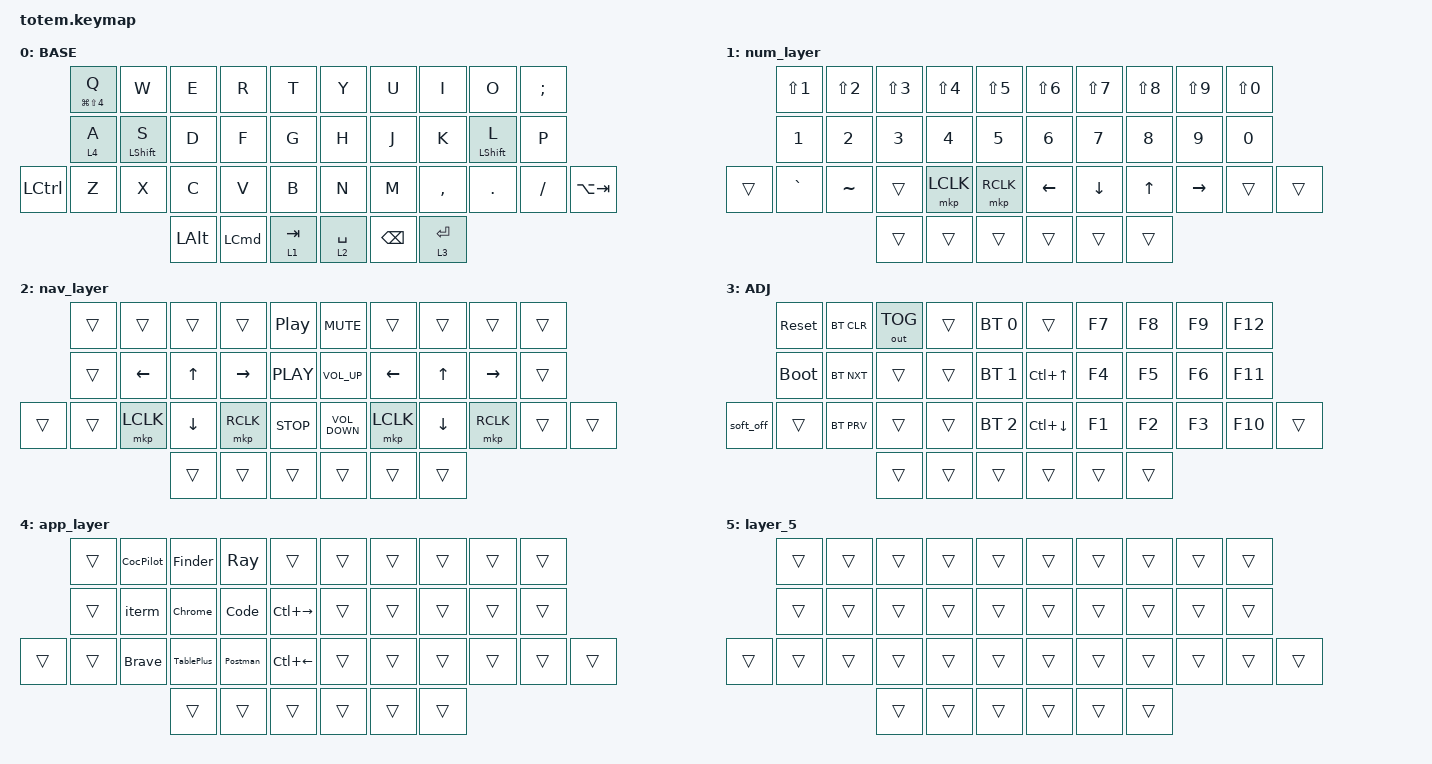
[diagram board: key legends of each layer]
//
//                                                        ▀▀▀▀▀     ▀▀▀▀▀          ▀▀█▀▀
//                                                        ▄▀▀▀▄  ▄  ▄▀▀▀▄  ▄  ▄▀▀▀▄  █  ▄▀▀▀▄
//                                                        █   █  █  █   █  █  █   █  █  █   █
//                                                         ▀▀▀   █   ▀▀▀   █   ▀▀▀   ▀   ▀▀▀
//                                                               █      ▄▄▄█▄▄▄    █   █  
//                                                               ▀      █  █  █     █▄█
//                                                             ▀▀▀▀▀    █  █  █      ▀
//                                                                      ▀  ▀  ▀
//
// ▄▄▄▄▄▄▄▄▄▄▄▄▄▄▄▄▄▄▄▄▄▄▄▄▄▄▄▄▄▄▄▄▄▄▄▄▄▄▄▄▄▄▄▄▄▄▄▄▄▄▄▄▄▄▄▄▄▄▄▄▄▄▄▄▄▄▄▄▄▄▄▄▄▄▄▄▄▄▄▄▄▄▄▄▄▄▄▄▄▄▄▄▄▄▄▄▄▄▄▄▄▄▄▄▄▄▄▄▄▄▄▄▄▄▄▄▄▄▄▄▄▄▄▄▄▄▄▄▄▄▄▄▄▄▄▄▄▄▄▄▄▄▄▄▄▄▄▄▄

#include <behaviors.dtsi>
#include <dt-bindings/zmk/bt.h>
#include <dt-bindings/zmk/keys.h>
#include <dt-bindings/zmk/outputs.h>
#include <dt-bindings/zmk/pointing.h>

#define BASE 0
#define NAV  1
#define SYM  2
#define ADJ  3
#define TVP1 4
#define TVP2 5

&mt {
    quick-tap-ms = <150>;
    global-quick-tap;
    flavor = "tap-preferred";
    tapping-term-ms = <250>;
};

/ {
    combos {
        compatible = "zmk,combos";

        combo_esc {
            timeout-ms = <50>;
            key-positions = <0 1>;
            bindings = <&kp ESC>;
        };

        lessthan {
            bindings = <&kp LESS_THAN>;
            key-positions = <2 3>;
        };

        minus {
            bindings = <&kp MINUS>;
            key-positions = <12 13>;
        };

        doublequotes {
            bindings = <&kp DOUBLE_QUOTES>;
            key-positions = <23 24>;
        };

        singlequotes {
            bindings = <&kp SQT>;
            key-positions = <22 23>;
        };

        left_parenthesis {
            bindings = <&kp LEFT_PARENTHESIS>;
            key-positions = <3 4>;
        };

        left_brace {
            bindings = <&kp LEFT_BRACE>;
            key-positions = <13 14>;
        };

        left_bracket {
            bindings = <&kp LEFT_BRACKET>;
            key-positions = <24 25>;
        };

        right_parenthesis {
            bindings = <&kp RIGHT_PARENTHESIS>;
            key-positions = <5 6>;
        };

        right_brace {
            bindings = <&kp RIGHT_BRACE>;
            key-positions = <15 16>;
        };

        right_bracket {
            bindings = <&kp RIGHT_BRACKET>;
            key-positions = <26 27>;
        };

        greater_than {
            bindings = <&kp GREATER_THAN>;
            key-positions = <6 7>;
        };

        underscore {
            bindings = <&kp UNDERSCORE>;
            key-positions = <16 17>;
        };

        equal {
            bindings = <&kp EQUAL>;
            key-positions = <27 28>;
        };

        colon {
            bindings = <&kp LS(SEMICOLON)>;
            key-positions = <7 8>;
        };

        semicolon {
            bindings = <&kp SEMICOLON>;
            key-positions = <28 29>;
        };

        pipe {
            bindings = <&kp LS(BACKSLASH)>;
            key-positions = <8 9>;
        };

        backslash {
            bindings = <&kp BACKSLASH>;
            key-positions = <29 30>;
        };

        reset_power-on {
            bindings = <&sys_reset>;
            key-positions = <20 32>;
        };
    };

    macros {
        gif: gif {
            label = "giphy";
            compatible = "zmk,behavior-macro";
            #binding-cells = <0>;
            bindings =
                <&macro_press>,
                <&kp LSHFT>,
                <&macro_tap>,
                <&kp N2>,
                <&macro_release>,
                <&kp LSHFT>,
                <&macro_tap>,
                <&kp G &kp I &kp F>;
        };

        Code: Code {
            compatible = "zmk,behavior-macro";
            #binding-cells = <0>;
            bindings = <&kp LA(LS(X))>;
            label = "CODE";
        };

        iterm: iterm {
            compatible = "zmk,behavior-macro";
            #binding-cells = <0>;
            bindings = <&kp LA(LS(S))>;
            label = "ITERM";
        };

        Chrome: Chrome {
            compatible = "zmk,behavior-macro";
            #binding-cells = <0>;
            bindings = <&kp LA(LS(W))>;
            label = "CHROME";
        };

        Ray: Ray {
            compatible = "zmk,behavior-macro";
            #binding-cells = <0>;
            bindings = <&kp LA(LS(R))>;
            label = "RAY";
        };

        CocPilot: CocPilot {
            compatible = "zmk,behavior-macro";
            #binding-cells = <0>;
            bindings = <&kp LA(LS(A))>;
            label = "COCPILOT";
        };

        Obsidian: Obsidian {
            compatible = "zmk,behavior-macro";
            #binding-cells = <0>;
            bindings = <&kp LA(LS(O))>;
            label = "OBSIDIAN";
        };

        Postman: Postman {
            compatible = "zmk,behavior-macro";
            #binding-cells = <0>;
            bindings = <&kp LA(LS(P))>;
            label = "POSTMAN";
        };

        TablePlus: TablePlus {
            compatible = "zmk,behavior-macro";
            #binding-cells = <0>;
            bindings = <&kp LA(LS(T))>;
            label = "TABLEPLUS";
        };

        Finder: Finder {
            compatible = "zmk,behavior-macro";
            #binding-cells = <0>;
            bindings = <&kp LA(LS(F))>;
            label = "FINDER";
        };

        Brave: Brave {
            compatible = "zmk,behavior-macro";
            #binding-cells = <0>;
            bindings = <&kp LA(LS(B))>;
            label = "BRAVE";
        };
    };

    keymap {
        compatible = "zmk,keymap";

        // ▄▄▄▄▄▄▄▄▄▄▄▄▄▄▄▄▄▄▄▄▄▄▄▄▄▄▄▄▄▄▄▄▄▄▄▄▄▄▄▄▄▄▄▄▄▄▄▄▄▄▄▄▄▄▄▄▄▄▄▄▄▄▄▄▄▄▄▄▄▄▄▄▄▄▄▄▄▄▄▄▄▄▄▄▄▄▄▄▄▄▄▄▄▄▄▄▄▄▄▄▄▄▄▄▄▄▄▄▄▄▄▄▄▄▄▄▄▄▄▄▄▄▄▄▄▄▄▄▄▄▄▄▄▄▄▄▄▄▄▄▄▄▄▄▄▄▄▄▄

        base_layer {
            // ┏━━━━━━━━━━━━━━━━━━━━━━━━━━━━━━━━━━━━━━━┓

            label = "BASE";

            // ┗━━━━━━━━━━━━━━━━━━━━━━━━━━━━━━━━━━━━━━━┛
            //             ┏━━━━━━━━━━━┳━━━━━━━━━━━┳━━━━━━━━━━━┳━━━━━━━━━━━┳━━━━━━━━━━━┓   ┏━━━━━━━━━━━┳━━━━━━━━━━━┳━━━━━━━━━━━┳━━━━━━━━━━━┳━━━━━━━━━━━┓
            //             ┃     Q     ┃     W     ┃     F     ┃     P     ┃     G     ┃   ┃     J     ┃     L     ┃     U     ┃     Y     ┃     ;     ┃
            //             ┣━━━━━━━━━━━╋━━━━━━━━━━━╋━━━━━━━━━━━╋━━━━━━━━━━━╋━━━━━━━━━━━┫   ┣━━━━━━━━━━━╋━━━━━━━━━━━╋━━━━━━━━━━━╋━━━━━━━━━━━╋━━━━━━━━━━━┫
            //             ┃     A     ┃     R     ┃     S     ┃     T     ┃     D     ┃   ┃     H     ┃     N     ┃     E     ┃     I     ┃     O     ┃
            // ┏━━━━━━━━━━━╋━━━━━━━━━━━╋━━━━━━━━━━━╋━━━━━━━━━━━╋━━━━━━━━━━━╋━━━━━━━━━━━┫   ┣━━━━━━━━━━━╋━━━━━━━━━━━╋━━━━━━━━━━━╋━━━━━━━━━━━╋━━━━━━━━━━━╋━━━━━━━━━━━┓
            // ┃     Q     ┃     Z     ┃     X     ┃     C     ┃     V     ┃     B     ┃   ┃     K     ┃     M     ┃     ,     ┃     .     ┃     /     ┃     \     ┃
            // ┗━━━━━━━━━━━┻━━━━━━━━━━━┻━━━━━━━━━━━╋━━━━━━━━━━━╋━━━━━━━━━━━╋━━━━━━━━━━━┫   ┣━━━━━━━━━━━╋━━━━━━━━━━━╋━━━━━━━━━━━╋━━━━━━━━━━━┻━━━━━━━━━━━┻━━━━━━━━━━━┛
            //                                     ┃    DEL    ┃    TAB    ┃    SPC    ┃   ┃   ENTER   ┃           ┃   BSPC    ┃
            //                                     ┗━━━━━━━━━━━┻━━━━━━━━━━━┻━━━━━━━━━━━┛   ┗━━━━━━━━━━━┻━━━━━━━━━━━┻━━━━━━━━━━━┛

            bindings = <
                  &mt LG(LS(NUMBER_4)) Q  &kp W             &kp E         &kp R             &kp T        &kp Y        &kp U          &kp I        &kp O             &kp SEMICOLON
                  &lt 4 A                 &mt LEFT_SHIFT S  &kp D         &kp F             &kp G        &kp H        &kp J          &kp K        &mt LEFT_SHIFT L  &kp P
&kp LEFT_CONTROL  &kp Z                   &kp X             &kp C         &kp V             &kp B        &kp N        &kp M          &kp COMMA    &kp DOT           &kp FSLH       &kp LA(TAB)
                                                            &kp LEFT_ALT  &kp LEFT_COMMAND  &lt 1 TAB    &lt 2 SPACE  &kp BACKSPACE  &lt 3 ENTER
            >;
        };

        num_layer {
            bindings = <
        &kp LS(NUMBER_1)  &kp LS(NUMBER_2)  &kp LS(NUMBER_3)  &kp LS(NUMBER_4)  &kp LS(NUMBER_5)    &kp LS(NUMBER_6)  &kp LS(NUMBER_7)  &kp LS(NUMBER_8)  &kp LS(NUMBER_9)  &kp LS(NUMBER_0)
        &kp NUMBER_1      &kp NUMBER_2      &kp NUMBER_3      &kp NUMBER_4      &kp NUMBER_5        &kp NUMBER_6      &kp NUMBER_7      &kp NUMBER_8      &kp NUMBER_9      &kp NUMBER_0
&trans  &kp GRAVE         &kp TILDE         &trans            &mkp LCLK         &mkp RCLK           &kp LEFT_ARROW    &kp DOWN_ARROW    &kp UP_ARROW      &kp RIGHT_ARROW   &trans            &trans
                                            &trans            &trans            &trans              &trans            &trans            &trans
            >;
        };

        nav_layer {
            bindings = <
        &trans  &trans          &trans          &trans           &kp C_PLAY_PAUSE    &kp K_MUTE         &trans     &trans        &trans     &trans
        &trans  &kp LEFT_ARROW  &kp UP_ARROW    &kp RIGHT_ARROW  &kp C_PLAY          &kp C_VOLUME_UP    &kp LEFT   &kp UP_ARROW  &kp RIGHT  &trans
&trans  &trans  &mkp LCLK       &kp DOWN_ARROW  &mkp RCLK        &kp C_STOP          &kp C_VOLUME_DOWN  &mkp LCLK  &kp DOWN      &mkp RCLK  &trans  &trans
                                &trans          &trans           &trans              &trans             &trans     &trans
            >;
        };

        adjust_layer {
            // ┏━━━━━━━━━━━━━━━━━━━━━━━━━━━━━━━━━━━━━━━┓

            label = "ADJ";

            // ┗━━━━━━━━━━━━━━━━━━━━━━━━━━━━━━━━━━━━━━━┛
            //             ┏━━━━━━━━━━━┳━━━━━━━━━━━┳━━━━━━━━━━━┳━━━━━━━━━━━┳━━━━━━━━━━━┓   ┏━━━━━━━━━━━┳━━━━━━━━━━━┳━━━━━━━━━━━┳━━━━━━━━━━━┳━━━━━━━━━━━┓
            //             ┃   RESET   ┃ BT CLEAR  ┃  OUT TOG  ┃           ┃           ┃   ┃           ┃    F7     ┃    F8     ┃    F9     ┃    F12    ┃
            //             ┣━━━━━━━━━━━╋━━━━━━━━━━━╋━━━━━━━━━━━╋━━━━━━━━━━━╋━━━━━━━━━━━┫   ┣━━━━━━━━━━━╋━━━━━━━━━━━╋━━━━━━━━━━━╋━━━━━━━━━━━╋━━━━━━━━━━━┫
            //             ┃ BOOTLOAD  ┃ BT NEXT   ┃           ┃           ┃           ┃   ┃           ┃    F4     ┃    F5     ┃    F6     ┃    F11    ┃
            // ┏━━━━━━━━━━━╋━━━━━━━━━━━╋━━━━━━━━━━━╋━━━━━━━━━━━╋━━━━━━━━━━━╋━━━━━━━━━━━┫   ┣━━━━━━━━━━━╋━━━━━━━━━━━╋━━━━━━━━━━━╋━━━━━━━━━━━╋━━━━━━━━━━━╋━━━━━━━━━━━┓
            // ┃           ┃           ┃ BT PREV   ┃           ┃           ┃           ┃   ┃           ┃    F1     ┃    F2     ┃    F3     ┃    F10    ┃           ┃
            // ┗━━━━━━━━━━━┻━━━━━━━━━━━┻━━━━━━━━━━━╋━━━━━━━━━━━╋━━━━━━━━━━━╋━━━━━━━━━━━┫   ┣━━━━━━━━━━━╋━━━━━━━━━━━╋━━━━━━━━━━━╋━━━━━━━━━━━┻━━━━━━━━━━━┻━━━━━━━━━━━┛
            //                                     ┃           ┃           ┃           ┃   ┃           ┃           ┃           ┃
            //                                     ┗━━━━━━━━━━━┻━━━━━━━━━━━┻━━━━━━━━━━━┛   ┗━━━━━━━━━━━┻━━━━━━━━━━━┻━━━━━━━━━━━┛

            bindings = <
           &sys_reset   &bt BT_CLR  &out OUT_TOG  &trans  &bt BT_SEL 0    &trans              &kp F7  &kp F8  &kp F9  &kp F12
           &bootloader  &bt BT_NXT  &trans        &trans  &bt BT_SEL 1    &kp LC(UP_ARROW)    &kp F4  &kp F5  &kp F6  &kp F11
&soft_off  &trans       &bt BT_PRV  &trans        &trans  &bt BT_SEL 2    &kp LC(DOWN_ARROW)  &kp F1  &kp F2  &kp F3  &kp F10  &trans
                                    &trans        &trans  &trans          &trans              &trans  &trans
            >;
        };

        app_layer {
            bindings = <
        &trans  &CocPilot  &Finder     &Ray      &trans           &trans  &trans  &trans  &trans  &trans
        &trans  &iterm     &Chrome     &Code     &kp LC(RIGHT)    &trans  &trans  &trans  &trans  &trans
&trans  &trans  &Brave     &TablePlus  &Postman  &kp LC(LEFT)     &trans  &trans  &trans  &trans  &trans  &trans
                           &trans      &trans    &trans           &trans  &trans  &trans
            >;
        };

        layer_5 {
            bindings = <
        &trans  &trans  &trans  &trans  &trans    &trans  &trans  &trans  &trans  &trans
        &trans  &trans  &trans  &trans  &trans    &trans  &trans  &trans  &trans  &trans
&trans  &trans  &trans  &trans  &trans  &trans    &trans  &trans  &trans  &trans  &trans  &trans
                        &trans  &trans  &trans    &trans  &trans  &trans
            >;
        };
    };
};
